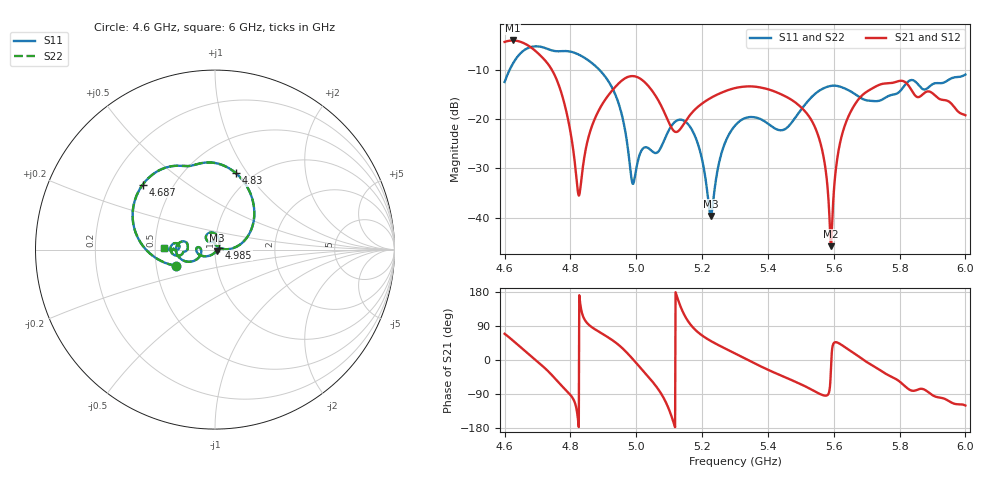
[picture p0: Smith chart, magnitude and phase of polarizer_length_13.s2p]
! TOUCHSTONE file generated by CST MICROWAVE STUDIO
! Date and time: Sun Dec  1 17:17:01 2024
! Project name: test_tuning.cst
! Parameters = {airCoaxOuterDiameter=3; chamferAngle=45; chamferWidth=24; connectorLength=10; drillingHoleDiameter=4.1; feedLength=60; flareDiameter=130; flareLength=70; gratingDistance=0; gratingGap=1.90274; outletLength=30; polarizerLength=88; probe1Diameter=1.3; probe1Distance=14; probe1Length=12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
! Header version: 2024
! Port assignment regex: !\s*Touchstone port\s*([0-9]+)\s*=\s*(CST MWS port|CST DES external port|CST DES block port)\s*(.+)\s* \(\"(.*)\"\)(\s*mode\s*([0-9]+))?.*
! Touchstone port assignment:
! Touchstone port 1 = CST MWS port 1 ("Input1")
! Touchstone port 2 = CST MWS port 2 ("Input2")
# GHz S MA R 50
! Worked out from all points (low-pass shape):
!   1001 points, 4.6 GHz to 6 GHz, reference 50 ohm
!   highest |S21| = -4.09 dB at 4.625 GHz (marker M1); lowest = -45.7 dB at 5.591 GHz (marker M2)
!   |S21| within 3 dB of the highest: start of sweep to 4.708 GHz
!   lowest |S11| = -39.6 dB at 5.226 GHz (marker M3), VSWR 1.02, Z = 50.9 - j0.592 ohm
!   |S11| at or under -10 dB: start of sweep to 4.615541 GHz; 4.887 GHz to end of sweep
!   |S22| runs from -39.6 to -5.3 dB; largest |S21 - S12| = 6e-07
!   S11 on the Smith chart (normalised r, x): 4.6 GHz: 0.63, -0.12; 4.687 GHz: 0.34, +0.34; 4.83 GHz: 0.84, +0.88; 4.985 GHz: 1.05, +0.02; 6 GHz: 0.56, +0.01
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4.6  0.237 -157.7  0.6036 69.2  0.6036 69.2  0.237 -157.7
4.6252  0.364 -176.7  0.6245 51.4  0.6245 51.4  0.364 -176.7
4.6868  0.5414 138.1  0.5108 5.0  0.5108 5.0  0.5414 138.1
4.7666  0.4856 103.4  0.2112 -61.7  0.2112 -61.7  0.4856 103.4
4.8296  0.4417 74.8  0.01921 149.8  0.01921 149.8  0.4417 74.8
4.8338  0.4341 72.8  0.0254 128.6  0.02541 128.6  0.4341 72.8
4.8674  0.3641 56.5  0.08861 85.1  0.08861 85.1  0.3641 56.5
4.936  0.1782 18.3  0.2108 47.0  0.2108 47.0  0.1782 18.3
4.985  0.02568 26.7  0.2719 6.7  0.2719 6.7  0.02567 26.7
5.0676  0.04707 118.8  0.1532 -78.2  0.1532 -78.2  0.04707 118.8
5.1166  0.09308 121.0  0.07469 -173.6  0.07469 -173.6  0.09308 121.0
5.1572  0.08881 89.9  0.1031 102.7  0.1031 102.7  0.08881 89.9
5.2258  0.01042 -33.9  0.1632 50.6  0.1632 50.6  0.01042 -33.9
5.3  0.08573 -157.8  0.2058 17.1  0.2058 17.1  0.08573 -157.8
5.4484  0.07797 -169.1  0.1727 -44.1  0.1727 -44.1  0.07797 -169.1
5.5338  0.1682 -156.4  0.09529 -78.8  0.09529 -78.8  0.1682 -156.4
5.5688  0.2045 -167.8  0.04187 -93.2  0.04187 -93.2  0.2045 -167.8
5.5912  0.2164 -176.2  0.005163 -29.5  0.005163 -29.5  0.2164 -176.2
5.6136  0.2152 175.5  0.04585 45.1  0.04585 45.1  0.2152 175.5
5.6416  0.1982 168.1  0.1007 29.5  0.1007 29.5  0.1982 168.1
5.7676  0.172 -176.0  0.23 -40.8  0.23 -40.8  0.172 -176.0
6  0.2821 177.9  0.1093 -120.1  0.1093 -120.1  0.2821 177.9
